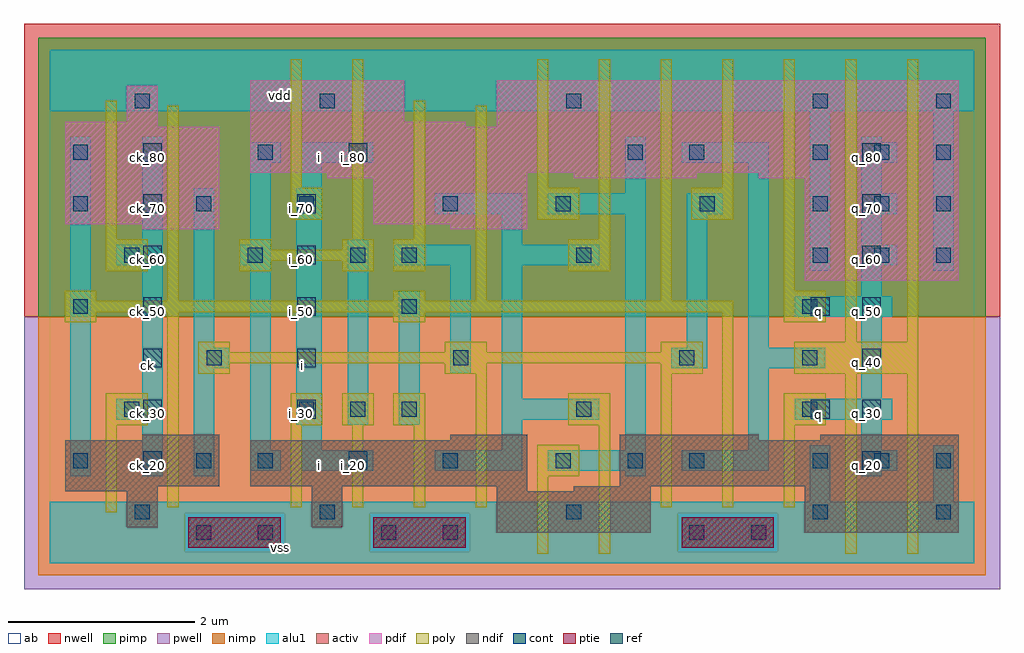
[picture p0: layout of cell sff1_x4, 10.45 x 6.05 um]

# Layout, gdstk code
import gdstk
lib = gdstk.Library(unit=1e-6, precision=2.5e-09)
def R(c, l, rs):  # rectangles x0, y0, x1, y1
    for r in rs: c.add(gdstk.rectangle(r[:2], r[2:], *l))
def A(c, l, x, y, w, h, nx, ny, dx, dy):  # array of equal rectangles
    R(c, l, [(x+i*dx, y+j*dy, x+i*dx+w, y+j*dy+h) for i in range(nx) for j in range(ny)])
ndif = (3, 0)
pdif = (4, 0)
ptie = (6, 0)
ref = (24, 0)
cont = (25, 0)
pwell = (41, 0)
nwell = (42, 0)
activ = (43, 0)
pimp = (44, 0)
nimp = (45, 0)
poly = (46, 0)
alu1 = (49, 0)
ab = (63, 0)

sff1_x4 = lib.new_cell('sff1_x4')
R(sff1_x4, ndif, [(4.785,0.33,6.435,0.77), (8.085,0.33,9.735,0.825), (0.825,0.385,1.155,0.77), (2.805,0.385,3.135,0.825), (0.165,0.77,1.155,0.825), (4.785,0.77,5.115,0.825), (5.61,0.77,6.435,0.825), (0.165,0.825,1.815,1.32), (2.145,0.825,5.115,1.32), (6.105,0.825,9.735,1.32), (0.99,1.32,1.815,1.375), (4.29,1.32,5.115,1.375), (6.105,1.32,7.59,1.375), (8.25,1.32,9.735,1.375)])
R(sff1_x4, pdif, [(8.085,3.025,9.735,4.125), (0.99,3.575,1.815,3.63), (4.29,3.575,5.115,3.63), (0.165,3.63,1.815,4.675), (3.465,3.63,5.115,4.125), (2.97,4.125,5.115,4.18), (5.61,4.125,6.93,4.18), (7.59,4.125,9.735,4.18), (2.145,4.18,9.735,4.675), (0.165,4.675,1.155,4.73), (2.145,4.675,4.455,4.73), (4.785,4.675,9.735,5.17), (0.825,4.73,1.155,5.115), (2.145,4.73,3.795,5.17)])
R(sff1_x4, ptie, [(1.485,0.165,2.475,0.495), (3.465,0.165,4.455,0.495), (6.765,0.165,7.755,0.495)])
A(sff1_x4, ref, 1, 1, 0.2, 0.2, 1, 7, 0, 0.55)
A(sff1_x4, ref, 8.7, 1, 0.2, 0.2, 1, 7, 0, 0.55)
A(sff1_x4, ref, 2.65, 1.55, 0.2, 0.2, 1, 5, 0, 0.55)
R(sff1_x4, ref, [(3.2,1,3.4,1.2), (8.15,1.55,8.35,1.75), (8.15,2.65,8.35,2.85), (3.2,4.3,3.4,4.5)])
A(sff1_x4, cont, 2.89, 0.47, 0.16, 0.16, 3, 2, 2.64, 4.4)
A(sff1_x4, cont, 8.17, 1.02, 0.16, 0.16, 3, 2, 0.66, 2.2)
A(sff1_x4, cont, 2.67, 1.57, 0.16, 0.16, 3, 1, 0.55, 0)
A(sff1_x4, cont, 8.06, 1.57, 0.16, 0.16, 1, 3, 0, 0.55)
A(sff1_x4, cont, 8.17, 3.77, 0.16, 0.16, 3, 2, 0.66, 0.55)
R(sff1_x4, cont, [(1.57,0.25,1.73,0.41), (2.23,0.25,2.39,0.41), (3.55,0.25,3.71,0.41), (4.21,0.25,4.37,0.41), (6.85,0.25,7.01,0.41), (7.51,0.25,7.67,0.41), (0.91,0.47,1.07,0.63), (9.49,0.47,9.65,0.63), (0.25,1.02,0.41,1.18), (1.57,1.02,1.73,1.18), (2.23,1.02,2.39,1.18), (4.21,1.02,4.37,1.18), (5.42,1.02,5.58,1.18), (6.19,1.02,6.35,1.18), (6.85,1.02,7.01,1.18), (0.8,1.57,0.96,1.73), (5.64,1.57,5.8,1.73), (1.68,2.12,1.84,2.28), (4.32,2.12,4.48,2.28), (6.74,2.12,6.9,2.28), (0.25,2.67,0.41,2.83), (3.77,2.67,3.93,2.83), (0.8,3.22,0.96,3.38), (2.12,3.22,2.28,3.38), (3.22,3.22,3.38,3.38), (3.77,3.22,3.93,3.38), (5.64,3.22,5.8,3.38), (0.25,3.77,0.41,3.93), (1.57,3.77,1.73,3.93), (2.67,3.77,2.83,3.93), (4.21,3.77,4.37,3.93), (5.42,3.77,5.58,3.93), (6.96,3.77,7.12,3.93), (0.25,4.32,0.41,4.48), (2.23,4.32,2.39,4.48), (6.19,4.32,6.35,4.48), (6.85,4.32,7.01,4.48), (0.91,4.87,1.07,5.03), (9.49,4.87,9.65,5.03)])
R(sff1_x4, pwell, [(-0.275,-0.275,10.175,2.64)])
R(sff1_x4, nwell, [(-0.275,2.64,10.175,5.775)])
R(sff1_x4, activ, [(1.485,0.165,2.475,0.495), (3.465,0.165,4.455,0.495), (6.765,0.165,7.755,0.495), (4.785,0.33,6.435,0.77), (8.085,0.33,9.735,0.825), (0.825,0.385,1.155,0.77), (2.805,0.385,3.135,0.825), (0.165,0.77,1.155,0.825), (4.785,0.77,5.115,0.825), (5.61,0.77,6.435,0.825), (0.165,0.825,1.815,1.32), (2.145,0.825,5.115,1.32), (6.105,0.825,9.735,1.32), (0.99,1.32,1.815,1.375), (4.29,1.32,5.115,1.375), (6.105,1.32,7.59,1.375), (8.25,1.32,9.735,1.375), (8.085,3.025,9.735,4.125), (0.99,3.575,1.815,3.63), (4.29,3.575,5.115,3.63), (0.165,3.63,1.815,4.675), (3.465,3.63,5.115,4.125), (2.97,4.125,5.115,4.18), (5.61,4.125,6.93,4.18), (7.59,4.125,9.735,4.18), (2.145,4.18,9.735,4.675), (0.165,4.675,1.155,4.73), (2.145,4.675,4.455,4.73), (4.785,4.675,9.735,5.17), (0.825,4.73,1.155,5.115), (2.145,4.73,3.795,5.17)])
R(sff1_x4, pimp, [(1.445,0.125,2.515,0.535), (3.425,0.125,4.495,0.535), (6.725,0.125,7.795,0.535), (-0.125,2.64,10.025,5.625)])
R(sff1_x4, nimp, [(-0.125,-0.125,10.025,0.125), (-0.125,0.125,1.445,0.535), (2.515,0.125,3.425,0.535), (4.495,0.125,6.725,0.535), (7.795,0.125,10.025,0.535), (-0.125,0.535,10.025,2.64)])
A(sff1_x4, poly, 2.58, 0.6, 0.12, 0.88, 3, 1, 0.66, 0)
A(sff1_x4, poly, 2.58, 1.48, 0.34, 0.34, 3, 1, 0.55, 0)
R(sff1_x4, poly, [(5.22,0.105,5.34,0.93), (5.88,0.105,6,1.48), (8.52,0.105,8.64,2.03), (9.18,0.105,9.3,2.03), (0.6,0.545,0.72,1.48), (1.26,0.6,1.38,2.69), (4.56,0.6,4.68,2.03), (6.54,0.6,6.66,2.03), (7.2,0.6,7.32,2.69), (7.86,0.6,7.98,1.48), (5.22,0.93,5.67,1.27), (0.6,1.48,1.05,1.82), (5.55,1.48,6,1.82), (7.86,1.48,8.31,1.82), (1.59,2.03,1.93,2.14), (4.23,2.03,4.68,2.14), (6.54,2.03,6.99,2.14), (7.97,2.03,9.3,2.37), (1.59,2.14,6.99,2.26), (1.59,2.26,1.93,2.37), (4.23,2.26,4.68,2.37), (6.54,2.26,6.99,2.37), (8.52,2.37,8.64,5.395), (9.18,2.37,9.3,5.395), (0.16,2.58,0.5,2.69), (3.68,2.58,4.02,2.69), (7.86,2.58,8.31,2.92), (0.16,2.69,7.32,2.81), (0.16,2.81,0.5,2.92), (1.26,2.81,1.38,4.9), (3.68,2.81,4.02,2.92), (4.56,2.81,4.68,4.9), (6.54,2.81,6.66,5.395), (7.86,2.92,7.98,5.395), (0.6,3.13,1.05,3.47), (2.03,3.13,2.37,3.24), (3.13,3.13,3.47,3.24), (3.68,3.13,4.02,3.47), (5.55,3.13,6,3.47), (2.03,3.24,3.47,3.36), (2.03,3.36,2.37,3.47), (3.13,3.36,3.47,3.47), (0.6,3.47,0.72,4.955), (3.24,3.47,3.36,5.395), (3.9,3.47,4.02,4.955), (5.88,3.47,6,5.395), (2.58,3.68,2.92,4.02), (5.22,3.68,5.67,4.02), (6.87,3.68,7.32,4.02), (2.58,4.02,2.7,5.395), (5.22,4.02,5.34,5.395), (7.2,4.02,7.32,5.395)])
A(sff1_x4, alu1, 8.69, 2.86, 0.22, 0.33, 1, 3, 0, 0.55)
A(sff1_x4, alu1, 8.69, 3.19, 0.385, 0.22, 1, 3, 0, 0.55)
R(sff1_x4, alu1, [(0,0,9.9,0.66), (8.14,0.66,8.36,1.265), (9.46,0.66,9.68,1.265), (0.22,0.935,0.44,4.565), (0.99,0.935,1.21,1.54), (1.54,0.935,1.76,2.09), (6.16,0.935,6.38,0.99), (8.69,0.935,8.91,0.99), (2.145,0.99,2.475,1.21), (2.695,0.99,3.465,1.21), (4.125,0.99,5.06,1.21), (5.335,0.99,6.38,1.21), (6.765,0.99,7.7,1.21), (8.69,0.99,9.075,1.21), (2.145,1.21,2.365,3.19), (2.695,1.21,2.915,1.485), (4.84,1.21,5.06,1.54), (6.16,1.21,6.38,3.74), (7.48,1.21,7.7,2.09), (8.69,1.21,8.91,1.54), (2.64,1.485,2.915,4.015), (3.19,1.485,3.41,3.465), (3.74,1.485,3.96,2.915), (0.715,1.54,1.21,1.76), (4.84,1.54,5.885,1.76), (7.975,1.54,9.02,1.76), (0.99,1.76,1.21,3.19), (4.84,1.76,5.06,3.19), (8.69,1.76,8.91,2.64), (4.29,2.035,4.51,3.19), (1.54,2.09,1.925,2.31), (6.655,2.09,7.04,2.31), (7.48,2.09,8.305,2.31), (1.54,2.31,1.76,4.015), (6.82,2.31,7.04,3.74), (7.48,2.31,7.7,4.29), (7.975,2.64,9.02,2.86), (8.14,3.135,8.36,4.84), (9.46,3.135,9.68,4.84), (0.715,3.19,1.21,3.41), (2.035,3.19,2.365,3.41), (3.685,3.19,4.51,3.41), (4.84,3.19,5.885,3.41), (0.99,3.41,1.21,4.565), (2.145,3.41,2.365,4.29), (4.84,3.41,5.06,3.74), (4.125,3.74,5.06,3.96), (5.335,3.74,6.38,3.96), (6.82,3.74,7.205,3.96), (6.16,3.96,6.38,4.565), (2.695,4.015,2.915,4.29), (2.145,4.29,2.475,4.51), (2.695,4.29,3.465,4.51), (6.765,4.29,7.7,4.51), (8.69,4.51,8.91,4.565), (0,4.84,9.9,5.5)])
R(sff1_x4, ab, [(0,0,9.9,5.5)])
sff1_x4.add(gdstk.Label('vss', (2.475,0.165), layer=49, texttype=0))
sff1_x4.add(gdstk.Label('i', (2.8875,1.045), layer=49, texttype=0))
sff1_x4.add(gdstk.Label('q', (8.235,1.595), layer=49, texttype=0))
sff1_x4.add(gdstk.Label('q', (8.235,2.695), layer=49, texttype=0))
sff1_x4.add(gdstk.Label('i', (2.7075,2.1175), layer=49, texttype=0))
sff1_x4.add(gdstk.Label('ck', (1.045,2.1175), layer=49, texttype=0))
sff1_x4.add(gdstk.Label('i', (2.8875,4.345), layer=49, texttype=0))
sff1_x4.add(gdstk.Label('vdd', (2.475,5.005), layer=49, texttype=0))
sff1_x4.add(gdstk.Label('q_30', (8.2,1.6), layer=24, texttype=0))
sff1_x4.add(gdstk.Label('q_50', (8.2,2.7), layer=24, texttype=0))
sff1_x4.add(gdstk.Label('i_80', (3.25,4.35), layer=24, texttype=0))
sff1_x4.add(gdstk.Label('q_20', (8.75,1.05), layer=24, texttype=0))
sff1_x4.add(gdstk.Label('q_30', (8.75,1.6), layer=24, texttype=0))
sff1_x4.add(gdstk.Label('q_50', (8.75,2.7), layer=24, texttype=0))
sff1_x4.add(gdstk.Label('q_60', (8.75,3.25), layer=24, texttype=0))
sff1_x4.add(gdstk.Label('q_70', (8.75,3.8), layer=24, texttype=0))
sff1_x4.add(gdstk.Label('q_80', (8.75,4.35), layer=24, texttype=0))
sff1_x4.add(gdstk.Label('i_20', (3.25,1.05), layer=24, texttype=0))
sff1_x4.add(gdstk.Label('i_30', (2.7,1.6), layer=24, texttype=0))
sff1_x4.add(gdstk.Label('i_40', (2.7,2.15), layer=24, texttype=0))
sff1_x4.add(gdstk.Label('i_50', (2.7,2.7), layer=24, texttype=0))
sff1_x4.add(gdstk.Label('i_60', (2.7,3.25), layer=24, texttype=0))
sff1_x4.add(gdstk.Label('i_70', (2.7,3.8), layer=24, texttype=0))
sff1_x4.add(gdstk.Label('ck_20', (1.05,1.05), layer=24, texttype=0))
sff1_x4.add(gdstk.Label('ck_30', (1.05,1.6), layer=24, texttype=0))
sff1_x4.add(gdstk.Label('ck_40', (1.05,2.15), layer=24, texttype=0))
sff1_x4.add(gdstk.Label('ck_50', (1.05,2.7), layer=24, texttype=0))
sff1_x4.add(gdstk.Label('ck_60', (1.05,3.25), layer=24, texttype=0))
sff1_x4.add(gdstk.Label('ck_70', (1.05,3.8), layer=24, texttype=0))
sff1_x4.add(gdstk.Label('ck_80', (1.05,4.35), layer=24, texttype=0))
sff1_x4.add(gdstk.Label('q_40', (8.75,2.15), layer=24, texttype=0))

lib.write_gds('sff1_x4.gds')
